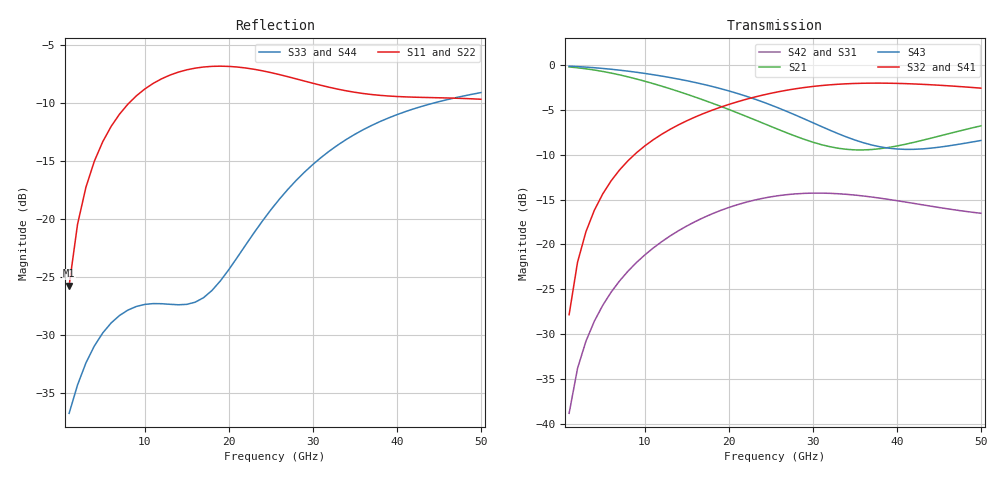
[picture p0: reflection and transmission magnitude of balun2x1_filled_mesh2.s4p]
! Created with skrf 2.2.0 (http://scikit-rf.org).
# GHz S DB R 50.0
! Port[1] = P1
! Port[2] = P2
! Port[3] = P3
! Port[4] = P4
!freq dBS11 angS11 dBS12 angS12 dBS13 angS13
! dBS14 angS14
! dBS21 angS21 dBS22 angS22 dBS23 angS23
! dBS24 angS24
! dBS31 angS31 dBS32 angS32 dBS33 angS33
! dBS34 angS34
! dBS41 angS41 dBS42 angS42 dBS43 angS43
! dBS44 angS44
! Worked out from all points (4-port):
!   50 points, 1 GHz to 50 GHz, reference 50 ohm
!   strongest paths, dB at 1 GHz, 13 GHz, 26 GHz, 38 GHz, 50 GHz:
!     S32: -27.8, -7.2, -3.0, -2.0, -2.6
!     S41: -27.8, -7.2, -3.0, -2.0, -2.6
!     S43: -0.1, -1.4, -4.8, -9.1, -8.4
!     S21: -0.2, -2.6, -7.2, -9.3, -6.8
!     S42: -38.8, -19.1, -14.6, -14.8, -16.5
!     S31: -38.8, -19.1, -14.7, -15.0, -16.7
!   lowest |S11| = -25.8 dB at 1 GHz (marker M1), VSWR 1.11, Z = 52.2 + j4.77 ohm
!   |S11| at or under -10 dB: start of sweep to 8.18 GHz
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1  -25.77 62.1  -0.21 -5.4  -38.83 -109.8  -27.83 84.3
   -0.21 -5.4  -25.77 62.1  -27.83 84.3  -38.82 -109.8
   -38.83 -109.8  -27.83 84.3  -36.76 24.4  -0.13 -2.6
   -27.83 84.3  -38.82 -109.8  -0.13 -2.6  -36.76 24.4
4  -15.05 60.6  -0.55 -20.0  -28.56 -135.8  -16.19 73.3
   -0.55 -20.0  -15.05 60.4  -16.19 73.3  -28.56 -136.0
   -28.56 -135.8  -16.19 73.3  -30.96 30.1  -0.30 -9.9
   -16.19 73.3  -28.56 -136.0  -0.30 -9.9  -30.94 30.2
9  -9.42 39.5  -1.55 -42.8  -22.05 -177.1  -9.79 55.9
   -1.55 -42.8  -9.43 39.1  -9.79 55.9  -22.03 -177.5
   -22.05 -177.1  -9.79 55.9  -27.56 2.4  -0.80 -21.1
   -9.79 55.9  -22.03 -177.5  -0.80 -21.1  -27.55 2.1
17  -6.93 8.8  -3.90 -78.1  -17.06 124.5  -5.41 31.7
    -3.90 -78.1  -6.96 8.0  -5.40 31.6  -17.00 123.7
    -17.06 124.5  -5.40 31.6  -26.80 -85.9  -2.16 -37.3
    -5.41 31.7  -17.00 123.7  -2.16 -37.3  -26.71 -86.9
28  -7.95 -19.0  -7.95 -138.7  -14.48 59.5  -2.65 0.0
    -7.95 -138.7  -8.08 -20.4  -2.64 -0.1  -14.36 58.1
    -14.48 59.5  -2.64 -0.1  -16.72 168.0  -5.60 -52.8
    -2.65 0.0  -14.36 58.1  -5.60 -52.8  -16.55 167.6
37  -9.30 -26.4  -9.42 155.0  -14.89 20.3  -2.04 -24.8
    -9.42 155.0  -9.58 -27.7  -2.02 -25.1  -14.71 18.0
    -14.89 20.3  -2.02 -25.1  -11.97 125.5  -8.91 -46.3
    -2.04 -24.8  -14.71 18.0  -8.91 -46.3  -11.81 125.2
50  -9.71 -37.4  -6.78 87.1  -16.67 -10.3  -2.61 -54.0
    -6.78 87.1  -10.03 -37.9  -2.57 -54.5  -16.52 -14.3
    -16.67 -10.3  -2.57 -54.5  -9.14 88.2  -8.41 -28.1
    -2.61 -54.0  -16.52 -14.3  -8.41 -28.1  -8.98 87.6
